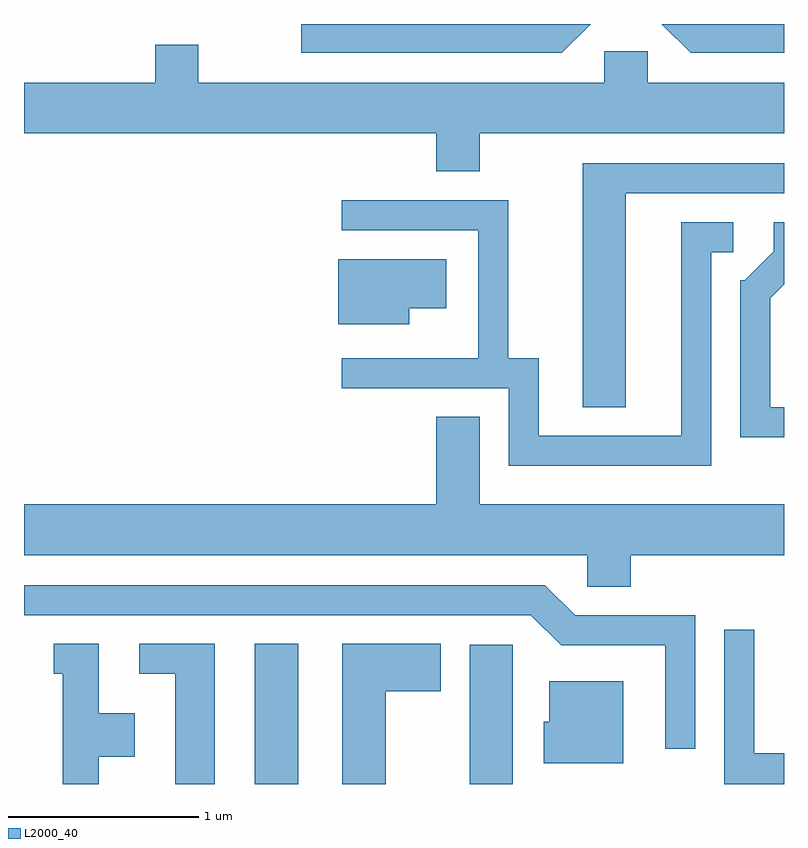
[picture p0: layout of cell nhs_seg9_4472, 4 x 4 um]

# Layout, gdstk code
import gdstk
lib = gdstk.Library(unit=1e-6, precision=1e-09)
def R(c, l, rs):  # rectangles x0, y0, x1, y1
    for r in rs: c.add(gdstk.rectangle(r[:2], r[2:], *l))
def P(c, l, *ps):  # polygons
    for p in ps: c.add(gdstk.Polygon(p, *l))
L2000_40 = (2000, 40)

nhs_seg9_4472 = lib.new_cell('nhs_seg9_4472')
R(nhs_seg9_4472, L2000_40, [(318.826,1948.432,319.054,1949.169), (319.956,1948.432,320.184,1949.164)])
P(nhs_seg9_4472, L2000_40, [(320.593,1952.432),(319.071,1952.432),(319.071,1952.281),(320.442,1952.281)],
  [(321.611,1952.432),(320.968,1952.432),(321.119,1952.281),(321.611,1952.281)],
  [(320.009,1951.856),(321.611,1951.856),(321.611,1952.124),(320.894,1952.124),(320.894,1952.289),(320.666,1952.289),(320.666,1952.124),(318.529,1952.124),(318.529,1952.324),(318.301,1952.324),(318.301,1952.124),(317.611,1952.124),(317.611,1951.856),(319.781,1951.856),(319.781,1951.656),(320.009,1951.656)],
  [(320.779,1951.541),(321.611,1951.541),(321.611,1951.699),(320.551,1951.699),(320.551,1950.416),(320.779,1950.416)],
  [(321.229,1951.231),(321.343,1951.231),(321.343,1951.389),(321.071,1951.389),(321.071,1950.264),(320.319,1950.264),(320.319,1950.674),(320.159,1950.674),(320.159,1951.504),(319.283,1951.504),(319.283,1951.346),(320.001,1951.346),(320.001,1950.674),(319.283,1950.674),(319.283,1950.516),(320.161,1950.516),(320.161,1950.106),(321.229,1950.106)],
  [(321.611,1950.414),(321.539,1950.414),(321.539,1950.989),(321.611,1951.061),(321.611,1951.389),(321.556,1951.389),(321.556,1951.237),(321.404,1951.084),(321.381,1951.084),(321.381,1950.256),(321.611,1950.256)],
  [(319.639,1950.936),(319.834,1950.936),(319.834,1951.194),(319.266,1951.194),(319.266,1950.851),(319.639,1950.851)],
  [(320.804,1949.636),(321.611,1949.636),(321.611,1949.904),(320.009,1949.904),(320.009,1950.364),(319.781,1950.364),(319.781,1949.904),(317.611,1949.904),(317.611,1949.636),(320.576,1949.636),(320.576,1949.471),(320.804,1949.471)],
  [(321.144,1949.319),(320.512,1949.319),(320.352,1949.479),(317.611,1949.479),(317.611,1949.321),(320.279,1949.321),(320.439,1949.161),(320.986,1949.161),(320.986,1948.618),(321.144,1948.618)],
  [(321.611,1948.594),(321.454,1948.594),(321.454,1949.243),(321.296,1949.243),(321.296,1948.432),(321.611,1948.432)],
  [(319.514,1948.921),(319.804,1948.921),(319.804,1949.169),(319.286,1949.169),(319.286,1948.432),(319.514,1948.432)],
  [(318.614,1949.169),(318.218,1949.169),(318.218,1949.011),(318.406,1949.011),(318.406,1948.432),(318.614,1948.432)],
  [(318.004,1948.576),(318.194,1948.576),(318.194,1948.804),(318.004,1948.804),(318.004,1949.169),(317.768,1949.169),(317.768,1949.011),(317.816,1949.011),(317.816,1948.432),(318.004,1948.432)],
  [(320.764,1948.974),(320.376,1948.974),(320.376,1948.759),(320.346,1948.759),(320.346,1948.541),(320.764,1948.541)])

lib.write_gds('nhs_seg9_4472.gds')
